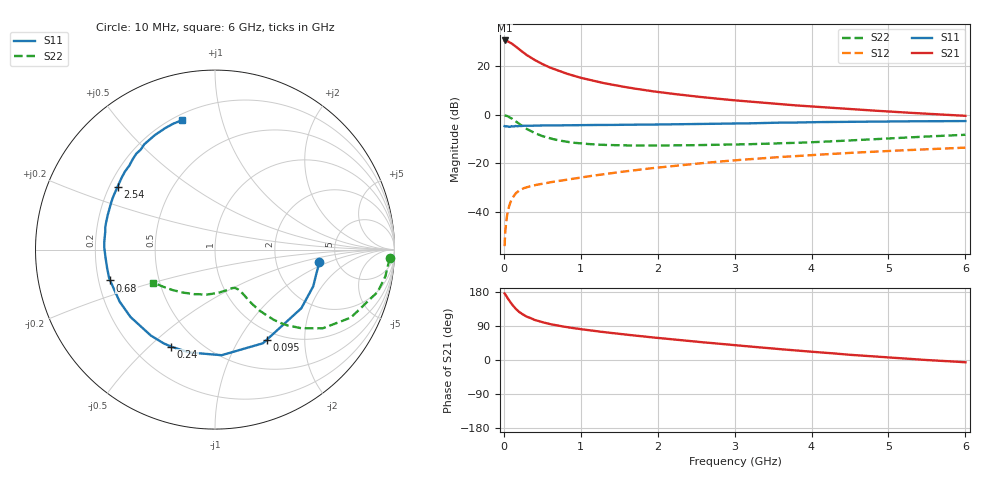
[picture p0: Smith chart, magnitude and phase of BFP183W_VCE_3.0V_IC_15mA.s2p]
! Infineon Technologies  Discrete & RF Semiconductors
! BFP183W
! VCE = 3.0 V,  IC =  15 mA
! Common Emitter S-Parameters:  Jan 2016
# GHz  S  MA  R  50
!  f  S11  S21  S12  S22
! GHz  MAG  ANG  MAG  ANG  MAG  ANG  MAG  ANG
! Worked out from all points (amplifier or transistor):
!   210 points, 10 MHz to 6 GHz, reference 50 ohm
!   highest |S21| = 30.6 dB at 10 MHz (marker M1)
!   |S21| within 3 dB of that: start of sweep to 173.9 MHz
!   unconditionally stable (mu >= 1): 1.099 GHz to 5.287 GHz
!   at 185 MHz: K = 0.29, MSG = 29.4 dB, |S12| = -31.5 dB
!   at 1.52 GHz: K = 1.10, MAG = 15.7 dB, |S12| = -23.5 dB
!   at 6 GHz: K = 0.97, MSG = 6.5 dB, |S12| = -13.5 dB
!   S11 on the Smith chart (normalised r, x): 10 MHz: 3.65, -0.78; 95 MHz: 0.88, -1.32; 240 MHz: 0.35, -0.59; 680 MHz: 0.25, -0.14; 2.54 GHz: 0.23, +0.28; 6 GHz: 0.23, +0.75
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0.01  0.5861 -6.9  33.71 175.6  0.002 91.8  0.9744 -2.8
0.02  0.5803 -13.7  33.62 173.0  0.0042 80.8  0.9661 -5.9
0.03  0.5843 -20.5  33.5 169.6  0.006 82.7  0.9614 -8.8
0.05  0.5814 -34.2  32.58 162.7  0.0103 75.0  0.937 -14.5
0.095  0.5793 -60.1  29.59 149.7  0.0174 65.2  0.8537 -25.3
0.1  0.5862 -62.9  29.37 148.1  0.0182 64.6  0.8465 -26.6
0.15  0.5895 -86.4  25.61 135.8  0.024 56.4  0.744 -36.1
0.2  0.5907 -103.9  22.12 126.6  0.0278 50.9  0.6496 -42.4
0.24  0.5934 -114.3  19.81 121.2  0.0301 48.0  0.5881 -46.1
0.3  0.5975 -126.8  16.82 114.1  0.0326 45.0  0.5099 -50.1
0.4  0.6021 -141.4  13.41 105.7  0.0358 42.6  0.423 -53.8
0.5  0.6052 -151.3  11.05 99.6  0.0384 42.6  0.3655 -55.7
0.68  0.609 -163.6  8.386 91.7  0.0429 43.8  0.3065 -57.3
0.8  0.6099 -169.5  7.15 87.3  0.0461 45.3  0.2822 -58.1
1.02  0.6134 -177.9  5.667 80.9  0.0519 47.6  0.257 -59.8
1.4  0.619 171.1  4.175 71.3  0.0631 50.4  0.2386 -63.6
2.02  0.6333 156.8  2.926 58.0  0.083 52.3  0.2343 -72.8
2.54  0.6459 147.2  2.341 47.7  0.1003 51.6  0.2387 -82.2
3.1  0.6658 137.4  1.925 37.5  0.1194 49.7  0.2471 -93.9
4.1  0.7088 122.6  1.452 20.3  0.1519 44.8  0.2776 -117.4
5.1  0.7327 111.5  1.143 5.4  0.1838 39.0  0.3329 -138.4
6  0.7442 104.2  0.954 -6.0  0.2118 33.9  0.3892 -151.9
